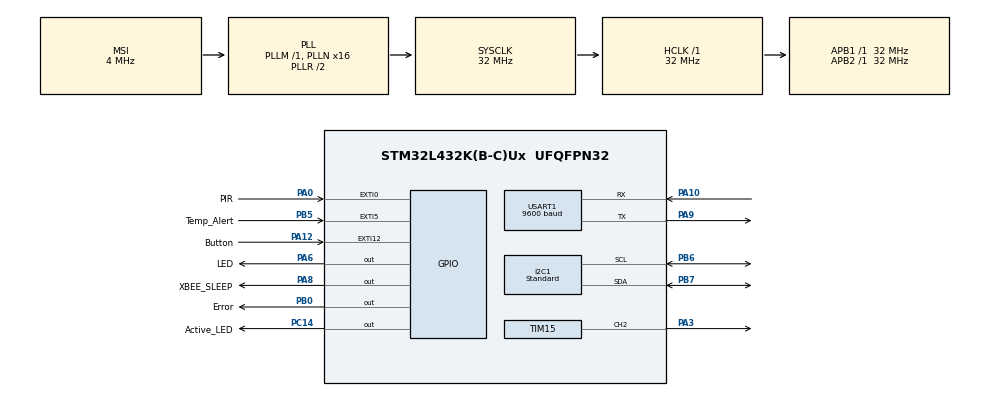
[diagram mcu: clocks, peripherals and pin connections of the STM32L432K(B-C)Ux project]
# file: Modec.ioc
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I2C1.I2C_Fall_Time=100
I2C1.I2C_Rise_Time=100
I2C1.I2C_Speed_Mode=I2C_Standard
I2C1.Timing=0x00B07CB4
Mcu.Family=STM32L4
Mcu.Name=STM32L432K(B-C)Ux
Mcu.Package=UFQFPN32
NVIC.EXTI0_IRQn=true\:3\:0\:true\:false\:true\:true\:true\:true
NVIC.EXTI15_10_IRQn=true\:0\:0\:false\:false\:true\:true\:true\:true
NVIC.EXTI9_5_IRQn=true\:0\:0\:false\:false\:true\:true\:true\:true
NVIC.PVD_PVM_IRQn=true\:0\:0\:false\:false\:true\:true\:true\:true
NVIC.PriorityGroup=NVIC_PRIORITYGROUP_4
NVIC.TIM2_IRQn=true\:3\:0\:true\:false\:true\:true\:true\:true
NVIC.USART1_IRQn=true\:0\:0\:true\:false\:true\:true\:true\:true
PA0.GPIO_Label=PIR
PA0.Signal=GPXTI0
PA10.Mode=Asynchronous
PA10.Signal=USART1_RX
PA12.GPIO_Label=Button
PA12.Signal=GPXTI12
PA13\ (JTMS-SWDIO).Mode=Trace_Asynchronous_SW
PA13\ (JTMS-SWDIO).Signal=SYS_JTMS-SWDIO
PA14\ (JTCK-SWCLK).Mode=Trace_Asynchronous_SW
PA14\ (JTCK-SWCLK).Signal=SYS_JTCK-SWCLK
PA3.Signal=S_TIM15_CH2
PA6.GPIO_Label=LED
PA6.Signal=GPIO_Output
PA8.GPIO_Label=XBEE_SLEEP
PA8.Signal=GPIO_Output
PA9.Mode=Asynchronous
PA9.Signal=USART1_TX
PB0.GPIO_Label=Error
PB0.Signal=GPIO_Output
PB3\ (JTDO-TRACESWO).Mode=Trace_Asynchronous_SW
PB3\ (JTDO-TRACESWO).Signal=SYS_JTDO-SWO
PB5.GPIO_Label=Temp_Alert
PB5.GPIO_ModeDefaultEXTI=GPIO_MODE_IT_FALLING
PB5.GPIO_PuPd=GPIO_NOPULL
PB5.Signal=GPXTI5
PB6.Mode=I2C
PB6.Signal=I2C1_SCL
PB7.Mode=I2C
PB7.Signal=I2C1_SDA
PC14-OSC32_IN\ (PC14).GPIO_Label=Active_LED
PC14-OSC32_IN\ (PC14).Signal=GPIO_Output
ProjectManager.HeapSize=0x200
ProjectManager.StackSize=0x400
ProjectManager.TargetToolchain=STM32CubeIDE
RCC.ADCFreq_Value=32000000
RCC.AHBFreq_Value=32000000
RCC.APB1Freq_Value=32000000
RCC.APB1TimFreq_Value=32000000
RCC.APB2Freq_Value=32000000
RCC.APB2TimFreq_Value=32000000
RCC.CortexFreq_Value=32000000
RCC.HCLKFreq_Value=32000000
RCC.HSE_VALUE=8000000
RCC.HSI48_VALUE=48000000
RCC.HSI_VALUE=16000000
RCC.LSE_VALUE=32768
RCC.MSI_VALUE=4000000
RCC.PLLN=16
RCC.PLLSAI1N=16
RCC.SYSCLKFreq_VALUE=32000000
RCC.SYSCLKSource=RCC_SYSCLKSOURCE_PLLCLK
RCC.USBFreq_Value=32000000
RCC.VCOOutputFreq_Value=64000000
SH.S_TIM15_CH2.0=TIM15_CH2,PWM Generation2 CH2
SYS.PVDLevel=PWR_PVDLEVEL_6
TIM15.AutoReloadPreload=TIM_AUTORELOAD_PRELOAD_DISABLE
TIM15.Channel-PWM\ Generation2\ CH2=TIM_CHANNEL_2
TIM15.ClockDivision=TIM_CLOCKDIVISION_DIV1
TIM15.OC2Preload_PWM=DISABLE
TIM15.OCFastMode_PWM-PWM\ Generation2\ CH2=TIM_OCFAST_ENABLE
TIM15.OCMode_PWM-PWM\ Generation2\ CH2=TIM_OCMODE_PWM1
TIM15.Period=9999
TIM15.Prescaler=7
TIM15.Pulse-PWM\ Generation2\ CH2=30
TIM2.Period=29999
TIM2.Prescaler=15999
USART1.BaudRate=9600
USART1.VirtualMode-Asynchronous=VM_ASYNC
VP_SYS_VS_DBSignals.Mode=DisableDeadBatterySignals
VP_SYS_VS_LPOM.Mode=PowerOptimisation
VP_SYS_V_PVD_IN.Mode=Mode_PVD_Int
VP_TIM15_VS_ClockSourceINT.Mode=Internal
VP_TIM2_VS_ClockSourceINT.Mode=Internal
board=custom

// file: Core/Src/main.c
/* USER CODE BEGIN Header */
/**
  ******************************************************************************
  * @file           : main.c
  * @brief          : Main program body
  ******************************************************************************
  * @attention
  *
  * Copyright (c) 2024 STMicroelectronics.
  * All rights reserved.
  *
  * This software is licensed under terms that can be found in the LICENSE file
  * in the root directory of this software component.
  * If no LICENSE file comes with this software, it is provided AS-IS.
  *
  * Initialization:
	System clock, peripherals (GPIO, USART, Timer), and Zigbee module configuration.
  * Low Power Mode:
	Functions to manage low-power mode by enabling/disabling STOP mode and controlling
	the Zigbee module sleep state.
  * Zigbee Communication:
	Configures Zigbee parameters like sleep mode, power level, and destination address.
	Sends and receives data through UART, processes commands, and responds accordingly.
  * Interrupt Handlers:
	Handles UART reception and GPIO interrupts for detecting events such as motion
	(PIR sensor input).
  * Error Handling:
	Implements robust error handling with flashing LEDs and error logging into flash memory,
	followed by a system reset.
  * LED Indications:
	LEDs are used to signal errors, low voltage, and operational states.
  * Timers:
	Utilizes a timer to track activity periods (e.g., 15 seconds of device activation).
  ******************************************************************************
  */

/* USER CODE END Header */
#include "main.h"
#include "i2c.h"
#include "tim.h"
#include "usart.h"
#include "gpio.h"

/* USER CODE BEGIN Includes */
#include <stdio.h>
#include <string.h>
#include <math.h>
#include <stdint.h>
#include <stddef.h>
#include <zigbee.h>
#include <stdlib.h>
#include <mcp9808.h>
/* USER CODE END Includes */

/* USER CODE BEGIN PTD */
typedef struct
{
    uint8_t Control;	 //used to determine if message is a request or command
    uint8_t Data;
    uint8_t DestAddress[8];	// Transmission data
} ZigbeeMessage;
/* USER CODE END PTD */

/* USER CODE BEGIN PD */
#define XBEE_SERIAL_LOW_ADDRESS  0x0803FF70 // Flash memory address for XBee serial low
#define ADDRESS_HIGH 0x13A200  // High address on Xbee devices

/* USER CODE END PD */

/* USER CODE BEGIN PV */

uint8_t txData_Presence[11] = {52, 50, 50, 54, 56, 48, 48, 56, 0xC0, 0x0F, 0x0D};
uint8_t txData_NoPresence[11] = {52, 50, 50, 54, 56, 48, 48, 56, 0xC0, 0x0A, 0x0D};
uint8_t loadStatus = 0;
uint8_t serialLowBuffer[8] = {0};
uint64_t serialLow = 0;
uint64_t flashData =0;
uint8_t deviceCount = 1;
volatile uint8_t DestIndex = 15; 	//initialized with arbitary number above MAX DEVICE
float ambientTemperature = 0.0f;			//Ambient temperature reading
uint8_t tempRead = 0;				//initialize temperature reading status
uint8_t tUpper;						//Upper temperature limit
uint8_t tLower;						//lower temperature limit
uint8_t tCritical;					//critical temperature limit

ZigbeeMessage receivedMessage =
{		// Instance and Initialization of the ZigbeeMessage typedef structure
		.Control = 0,
		.Data = 0,
		.DestAddress = {0}
};
XBeeModule XBeeData =
{			// Initialize UART receive variables
		.rx_buffer = {0},
		.received_byte = 0,
		.data_received_flag = 0,
		.overflow_flag = 0,
		.myAddress = {0}
};

NodeDiscovery newNode[MAX_DEVICES];
NodeDiscovery router;
//create instance of XBeeModule typedef struct
/* USER CODE END PV */

void SystemClock_Config(void);
/* USER CODE BEGIN PFP */
void RequestAndStoreSerialLow(void);
void EraseFlashSector(uint32_t address);
void WriteFlash(uint32_t address, uint64_t data);
void uint64ToUint8Array(uint64_t value, uint8_t array[8]);
//void WriteFlash64(uint32_t address, uint64_t data);
/* USER CODE END PFP */

int main(void)
{

  /* MCU Configuration--------------------------------------------------------*/

  /* Reset of all peripherals, Initializes the Flash interface and the Systick. */
   HAL_Init();

  /* Configure the system clock */
  SystemClock_Config();

  /* Initialize all configured peripherals */
  MX_GPIO_Init();
  MX_USART1_UART_Init();
  MX_TIM2_Init();
  MX_I2C1_Init();
  MX_TIM15_Init();
  /* USER CODE BEGIN 2 */

  /* --------------------------Zigbee Configuration Begin-----------------------------------------*/
  /*
   * ONLY USE FUNCTIONS DURING INITIAL CONFIGURATION OR MAKING CHANGES TO CONFIGURATION
   * COMMENT OUT FUNCTIONS WHEN NOT IN USE
   * STORE FLASHDATA FOR SERIAL DATA LOW FOR OPERATIONAL USE
   */
  // Request and store XBee serial low
   //  RequestAndStoreSerialLow();

  /*..........Set Destination Address..........
   * Use ADDRESS_HIGH for DH
   * setDestinationAddress(ADDRESS_HIGH, 0x4236C1F7);
   */

   /*..........Check and Set Sleep Mode Levels.............
    * level 1 (pin hibernate)
    * level 0 (No Sleep mode)
    * SleepMode(1);
    * RQSleepMode();
    .........................................*/

  /*..........Check & Set Tx Power level.............
   * Power levels 4 (highest) - 0 (lowest)
   * TxPowerLevel(2); SET
   * RQPowerLevel();  CHECK
   .........................................*/
//
  enterCommandMode();
  requestParameter("ATdb\r", serialLowBuffer, sizeof(serialLowBuffer));
  //setParameter("ATNI MODEC\r");
  //setParameter("ATID 1221\r");
  //setParameter("ATNJFF\r");
  //setParameter("ATSC0010\r");
 // writeCommand();
  //XBee_NodeDiscovery();
  //factoryReset();
  //setDestinationAddress(ADDRESS_HIGH, 0x42268008);
  //setDestinationAddress(0x00, 0xFFFF);
  //exitCommandMode();

  flashData= *(uint64_t *)XBEE_SERIAL_LOW_ADDRESS; //Store serial low number from flash memory
  uint64ToUint8Array(flashData,  XBeeData.myAddress); // Convert Data to Array
//
//  //search discovered node for it's router
//  for(int a = 0; a < deviceCount; a++)
//  {
//	  if(strncmp(newNode[a].NodeID, "Switch01", strlen("Switch01")) == 0)		//Check for a device counterpart
//	  {
//		  if(memcmp(newNode[a].dType, "01", 2) == 0)		//Check if device is a router
//		  {
//			  DestIndex = a;		//store router index
//			  HAL_GPIO_WritePin(GPIOA, LED_Pin, 1);
//			  HAL_Delay(3000);
//			  HAL_GPIO_WritePin(GPIOA, LED_Pin, 0);
//			   HAL_Delay(3000);
//			  break;
//		  }else{
//			  printf("Device %d is not a Router\n", a);
//			 // HAL_GPIO_WritePin(GPIOA, LED_Pin, 1);
//		  }
//
//	  }else{
//		  printf("Node %d does not match 'Switch01'\n", a);
//
//	  }
//  }
//
//
//  // Handle case where no router is found
//  if (DestIndex == 15)
//  {
//      printf("No router found. Exiting.\n");
//      // Handle the error (e.g., retry discovery or halt)
//      //HAL_GPIO_WritePin(Error_GPIO_Port, Error_Pin, 1);
//  }else{
//      // Copy router details
//      memcpy(&router, &newNode[DestIndex], sizeof(NodeDiscovery));
//      //copy router address to presence and no presence data
//      memcpy(txData_Presence, router.SerialLow, ADDRESS_SIZE);
//      memcpy(txData_NoPresence, router.SerialLow, ADDRESS_SIZE);
// }
  /* --------------------------Zigbee Configuration End-------------------------------------------*/

  /* --------------------------MCP9808 Configuration Start-------------------------------------------*/

  if (MCP9808_IsConnected() == HAL_OK) {
      // Initialize the temperature sensor
      if (MCP9808_Init() == HAL_OK) {

          // Read ambient temperature
          while (!tempRead) {
              if (MCP9808_ReadTemperature(&ambientTemperature) == HAL_OK) {
                  tempRead = 1; // Successfully read temperature
              } else {
                  // Handle error (blink error LED)
                  HAL_GPIO_WritePin(Error_GPIO_Port, Error_Pin, GPIO_PIN_SET);
                  HAL_Delay(3000);
                  HAL_GPIO_WritePin(Error_GPIO_Port, Error_Pin, GPIO_PIN_RESET);
              }
          }

          // Set thresholds
          tUpper = ambientTemperature + 10;
          tLower = ambientTemperature - 10;
          tCritical = ambientTemperature + 30;

          if (MCP9808_ConfigureInterrupts(tUpper, tLower, tCritical) != HAL_OK) {
              // Handle configuration error
              HAL_GPIO_WritePin(Error_GPIO_Port, Error_Pin, GPIO_PIN_SET);
              HAL_Delay(3000);
              HAL_GPIO_WritePin(Error_GPIO_Port, Error_Pin, GPIO_PIN_RESET);
          }
      } else {
          HAL_GPIO_WritePin(Error_GPIO_Port, Error_Pin, GPIO_PIN_SET);
          HAL_Delay(3000);
          HAL_GPIO_WritePin(Error_GPIO_Port, Error_Pin, GPIO_PIN_RESET);
      }
  } else {
      HAL_GPIO_WritePin(Error_GPIO_Port, Error_Pin, GPIO_PIN_SET);
      HAL_Delay(3000);
      HAL_GPIO_WritePin(Error_GPIO_Port, Error_Pin, GPIO_PIN_RESET);
  }

 /* --------------------------MCP9808 Configuration End-------------------------------------------*/

  //    // Indicate Device is ready to run
      HAL_GPIO_WritePin(Active_LED_GPIO_Port, Active_LED_Pin, GPIO_PIN_SET);
      HAL_Delay(1000);
      HAL_GPIO_WritePin(Active_LED_GPIO_Port, Active_LED_Pin, GPIO_PIN_RESET);
  /* USER CODE END 2 */

  /* Infinite loop */
  /* USER CODE BEGIN WHILE */
  SetLowPowerMode(1);  // Enable low power
  while (1)
  {
 	  if(XBeeData.data_received_flag)
	  {		//get zigbee message from xbee module
 		  memcpy(receivedMessage.DestAddress, XBeeData.rx_buffer, 8);	//copy destination address to zigbee message
		  receivedMessage.Control = XBeeData.rx_buffer[8];
		  receivedMessage.Data = XBeeData.rx_buffer[9];
		  //Check if the message is meant for me
		  if(memcmp(XBeeData.myAddress, receivedMessage.DestAddress, 8) == 0)
		  {

			  if(receivedMessage.Control == 0xB3)
			  {
				  if(receivedMessage.Data == 0x11)
				 {
				 	loadStatus = 1;					// Feedback: Load is active
				 	HAL_TIM_Base_Start_IT(&htim2);     /* Start 15 secs timer */

				 }else if(receivedMessage.Data == 0xAA)
				 	{
					 	 loadStatus = 0;			// Feedback: Load is inactive
					 	 SetLowPowerMode(1);  // Enable low power on no presence
				 	}else
				 	{;}
			  	}
	     }
		  XBeeData.data_received_flag = 0;  // resets received status to expect new data
		 HAL_UART_Receive_IT(&huart1, &XBeeData.received_byte, 1);  // Continue receiving
	  }
    /* USER CODE END WHILE */

  }
}

void SystemClock_Config(void)
{
  RCC_OscInitTypeDef RCC_OscInitStruct = {0};
  RCC_ClkInitTypeDef RCC_ClkInitStruct = {0};

  /** Configure the main internal regulator output voltage
  */
  if (HAL_PWREx_ControlVoltageScaling(PWR_REGULATOR_VOLTAGE_SCALE1) != HAL_OK)
  {
    Error_Handler();
  }

  /** Initializes the RCC Oscillators according to the specified parameters
  * in the RCC_OscInitTypeDef structure.
  */
  RCC_OscInitStruct.OscillatorType = RCC_OSCILLATORTYPE_MSI;
  RCC_OscInitStruct.MSIState = RCC_MSI_ON;
  RCC_OscInitStruct.MSICalibrationValue = 0;
  RCC_OscInitStruct.MSIClockRange = RCC_MSIRANGE_6;
  RCC_OscInitStruct.PLL.PLLState = RCC_PLL_ON;
  RCC_OscInitStruct.PLL.PLLSource = RCC_PLLSOURCE_MSI;
  RCC_OscInitStruct.PLL.PLLM = 1;
  RCC_OscInitStruct.PLL.PLLN = 16;
  RCC_OscInitStruct.PLL.PLLP = RCC_PLLP_DIV7;
  RCC_OscInitStruct.PLL.PLLQ = RCC_PLLQ_DIV2;
  RCC_OscInitStruct.PLL.PLLR = RCC_PLLR_DIV2;
  if (HAL_RCC_OscConfig(&RCC_OscInitStruct) != HAL_OK)
  {
    Error_Handler();
  }

  /** Initializes the CPU, AHB and APB buses clocks
  */
  RCC_ClkInitStruct.ClockType = RCC_CLOCKTYPE_HCLK|RCC_CLOCKTYPE_SYSCLK
                              |RCC_CLOCKTYPE_PCLK1|RCC_CLOCKTYPE_PCLK2;
  RCC_ClkInitStruct.SYSCLKSource = RCC_SYSCLKSOURCE_PLLCLK;
  RCC_ClkInitStruct.AHBCLKDivider = RCC_SYSCLK_DIV1;
  RCC_ClkInitStruct.APB1CLKDivider = RCC_HCLK_DIV1;
  RCC_ClkInitStruct.APB2CLKDivider = RCC_HCLK_DIV1;

  if (HAL_RCC_ClockConfig(&RCC_ClkInitStruct, FLASH_LATENCY_1) != HAL_OK)
  {
    Error_Handler();
  }
}

/* USER CODE BEGIN 4 */

//Convert a uint64_t  into a uint8_t array in little-endian order
void uint64ToUint8Array(uint64_t value, uint8_t array[8]) {
    for (int i = 0; i < 8; i++) {
        array[i] = (value >> (i * 8)) & 0xFF; // Extract each byte
    }
}

/*
 * Receive interrupt callback function
 */

void HAL_UART_RxCpltCallback(UART_HandleTypeDef *huart)
{
    static uint8_t index = 0;

    if (huart->Instance == USART1)
    {
    	SetLowPowerMode(0); //Exit Low Power Mode
        if (index < DATA_BUFFER_SIZE - 1)
        {
        	XBeeData.rx_buffer[index++] = XBeeData.received_byte;

            if (XBeeData.received_byte == '\r')// End of response
            {
            	XBeeData.data_received_flag = 1;
            	XBeeData.rx_buffer[index] = '\0';  // Null-terminate
                index = 0;  // Reset for next reception
            }
        } else
        {
        	XBeeData.overflow_flag = 1;  // Signal buffer overflow
            XBeeData.rx_buffer[index] = '\0';	// Null-terminate
            index = 0; //reset the buffer
        }

        HAL_UART_Receive_IT(&huart1, &XBeeData.received_byte, 1);  // Continue receiving
    }
}

/**
  * @brief Enter or Exit Low Power (STOP) Mode. Set or Reset XBee from sleep mode
  * @param enable: 1 to enable, 0 to disable
  */
void SetLowPowerMode(uint8_t enable)
{
    if (enable)
    {
        HAL_GPIO_WritePin(GPIOA, LED_Pin, GPIO_PIN_RESET);
        HAL_GPIO_WritePin(GPIOA, XBEE_SLEEP_Pin, GPIO_PIN_SET); //XBee to enter sleep mode

        // Enter STOP mode
        HAL_SuspendTick();
        HAL_PWR_EnterSTOPMode(PWR_LOWPOWERREGULATOR_ON, PWR_SLEEPENTRY_WFI);

        // Exit STOP mode
        HAL_ResumeTick();
        SystemClock_Config();
        HAL_GPIO_WritePin(GPIOA, XBEE_SLEEP_Pin, GPIO_PIN_RESET); //XBee to exit sleep mode

    }
    else
    {
        HAL_PWR_DisableSleepOnExit();
    }
}
/* --------------------------Flash Programming Start-------------------------------------------*/

/*
 *  @brief Store XBEE serial number to flash memory
 *  @serialLow 	 64bit serial numberto store in flash
 */
void StoreXBeeSerialLow(uint64_t serialLow)
{
    uint32_t address = XBEE_SERIAL_LOW_ADDRESS;

    // Step 1: Erase the Flash page
    EraseFlashSector(address);

    // Step 2: Write the 32-bit serialLow to Flash
    WriteFlash(address, serialLow);
}

/*
 *  @brief Request serial low number via XBee AT command and store in memory
 */
void RequestAndStoreSerialLow(void)
{
    // Request serial low number
    if(requestParameter("ATSL\r", serialLowBuffer, sizeof(serialLowBuffer)) == XBEE_SUCCESS)
    {
    	for (int i = 0; i < 8; i++)		// Convert received buffer to 32-bit integer (assume little-endian format)
    	{
    		serialLow |= ((uint64_t)serialLowBuffer[i] << (8 * i)); //little-endian
    		//serialLow |= ((uint64_t)serialLowBuffer[i] << (8 * (7 - i))); //big-endian
    	}
    	StoreXBeeSerialLow(serialLow);		// Store the serial number in Flash memory
    }else{
        // Indicate failure via LED blink for 2 sec
        HAL_GPIO_WritePin(GPIOA, LED_Pin, GPIO_PIN_SET);
        HAL_Delay(2000);
        HAL_GPIO_WritePin(GPIOA, LED_Pin, GPIO_PIN_RESET);
    }
}

/*
 *  @brief Erase flash sector to prep for memory programming
 *  @address Starting address to flash sector
 */
void EraseFlashSector(uint32_t address)
{
    HAL_FLASH_Unlock();

    FLASH_EraseInitTypeDef eraseInitStruct;
    uint32_t pageError = 0;

    // Convert the address to a page number
    uint64_t page = (address - FLASH_BASE) / FLASH_PAGE_SIZE;

    eraseInitStruct.TypeErase = FLASH_TYPEERASE_PAGES;
    eraseInitStruct.Page = page;             // Page number for newer MCUs
    eraseInitStruct.NbPages = 1;             // Number of pages to erase

    if (HAL_FLASHEx_Erase(&eraseInitStruct, &pageError) != HAL_OK)
    {
        HAL_FLASH_Lock();
        return;
    }

    HAL_FLASH_Lock();
}

/*
 *  @brief Write to flash memory after erase
 *  @addressFlash memory address to be written into
 *  @data 64bit data to be written to memory
 */
void WriteFlash(uint32_t address, uint64_t data)
{
    HAL_FLASH_Unlock();

    if (HAL_FLASH_Program(FLASH_TYPEPROGRAM_DOUBLEWORD, address, data) != HAL_OK)
    {

        // Indicate failure via LED blink for 1 sec
        HAL_GPIO_WritePin(GPIOA, LED_Pin, GPIO_PIN_SET);
        HAL_Delay(1000);
        HAL_GPIO_WritePin(GPIOA, LED_Pin, GPIO_PIN_RESET);
    }

    HAL_FLASH_Lock();
}
/* --------------------------Flash Programming End-------------------------------------------*/

/**
  * @brief  Graceful Shutdown Procedure
  */
void GracefulShutdown(void)
{
    // Safely shut down peripherals or save data here before reset
    HAL_UART_DeInit(&huart1); // Deinitialize UART
    HAL_TIM_Base_Stop_IT(&htim2); // Stop Timer 2
    HAL_I2C_MspDeInit(&hi2c1);	//Deinitialize i2c

    HAL_Delay(500); // Allow time for final tasks
}

/**
  * @brief  Error handler with graceful shutdown and reset
  */
void IndicateErrorAndReset(void)
{
    GracefulShutdown();
    NVIC_SystemReset(); // Trigger a system reset

}
/* USER CODE END 4 */

void Error_Handler(void)
{
  /* USER CODE BEGIN Error_Handler_Debug */
  /* User can add his own implementation to report the HAL error return state */
  __disable_irq();
  //Visual Display in Error mode. Blink LED continuously
  	 ToggleLED(100, 10, 0); //Toggle Error LED
	 IndicateErrorAndReset();
  /* USER CODE END Error_Handler_Debug */
}
